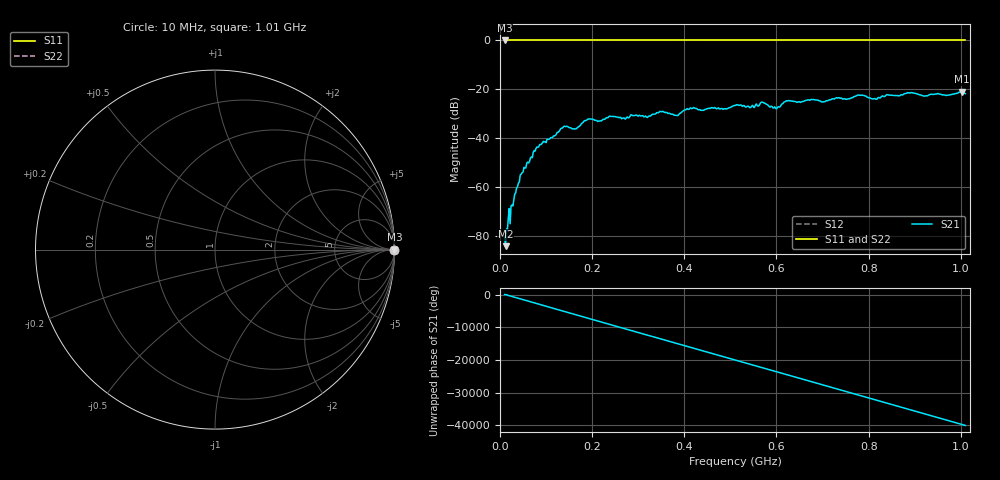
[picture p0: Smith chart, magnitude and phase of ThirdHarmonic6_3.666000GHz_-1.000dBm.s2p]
! 8/17/2025 12:22:49 PM
! C:\ANRITSUVNA\TEMP\TEMP.S2P
! CHANNEL.1
! TR.MEASUREMENT
! RAW.DATA
! RF.CORRECTION.OFF
! AVERAGING.OFF
! IF.BANDWIDTH: 5KHZ
! SWEEPTYPE:  FREQ.SWEEP(Linear)
! Reference Plane Port Info
! PORT:  PORT1  PORT2
! DISTANCE:  0  m  0  m
! TIME:  0  s  0  s
! PHASE.OFFSET:  0  deg.  0  deg.
! LOSS:  0  dB  0  dB
! REF.LOSS:  0  dB  0  dB
! REF.FREQ:  0  Hz  0  Hz
! Power Info
! POWER:  -20  dBm  -20  dBm
! EFF.POWER:  -20  dBm  -20  dBm
! SOURCE.ATTEN:  0  dB  0  dB
! TEST.ATTEN:  0  dB  0  dB
# GHZ S RI R 50.0
! FREQ.GHZ  S11RE  S11IM  S21RE  S21IM  S12RE  S12IM  S22RE  S22IM
!; PortSelection: Port_12
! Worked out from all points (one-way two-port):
!   501 points, 10 MHz to 1.01 GHz, reference 50 ohm
!   highest |S21| = -20.98 dB at 1.002 GHz (marker M1); lowest = -84.0 dB at 12 MHz (marker M2)
!   lowest |S11| = 0.0 dB at 10 MHz (marker M3)
!   |S11| at or under -10 dB: nowhere
!   |S22| runs from 0.0 to 0.0 dB; largest |S21 - S12| = 1.1
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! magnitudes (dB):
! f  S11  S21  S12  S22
! 10 MHz  0.0  -80.3  0.0  0.0
! 12 MHz  0.0  -84.0  0.0  0.0
! 22 MHz  0.0  -74.9  0.0  0.0
! 44 MHz  0.0  -54.9  0.0  0.0
! 76 MHz  0.0  -45.2  0.0  0.0
! 136 MHz  0.0  -35.7  0.0  0.0
! 162 MHz  0.0  -36.2  0.0  0.0
! 178 MHz  0.0  -33.8  0.0  0.0
! 194 MHz  0.0  -32.0  0.0  0.0
! 322 MHz  0.0  -31.0  0.0  0.0
! 344 MHz  0.0  -29.5  0.0  0.0
! 382 MHz  0.0  -30.6  0.0  0.0
! 416 MHz  0.0  -27.9  0.0  0.0
! 510 MHz  0.0  -26.6  0.0  0.0
! 570 MHz  0.0  -25.2  0.0  0.0
! 596 MHz  0.0  -27.1  0.0  0.0
! 624 MHz  0.0  -24.7  0.0  0.0
! 678 MHz  0.0  -24.2  0.0  0.0
! 814 MHz  0.0  -23.8  0.0  0.0
! 844 MHz  0.0  -22.3  0.0  0.0
! 1.002 GHz  0.0  -21.0  0.0  0.0
! 1.01 GHz  0.0  -21.7  0.0  0.0
